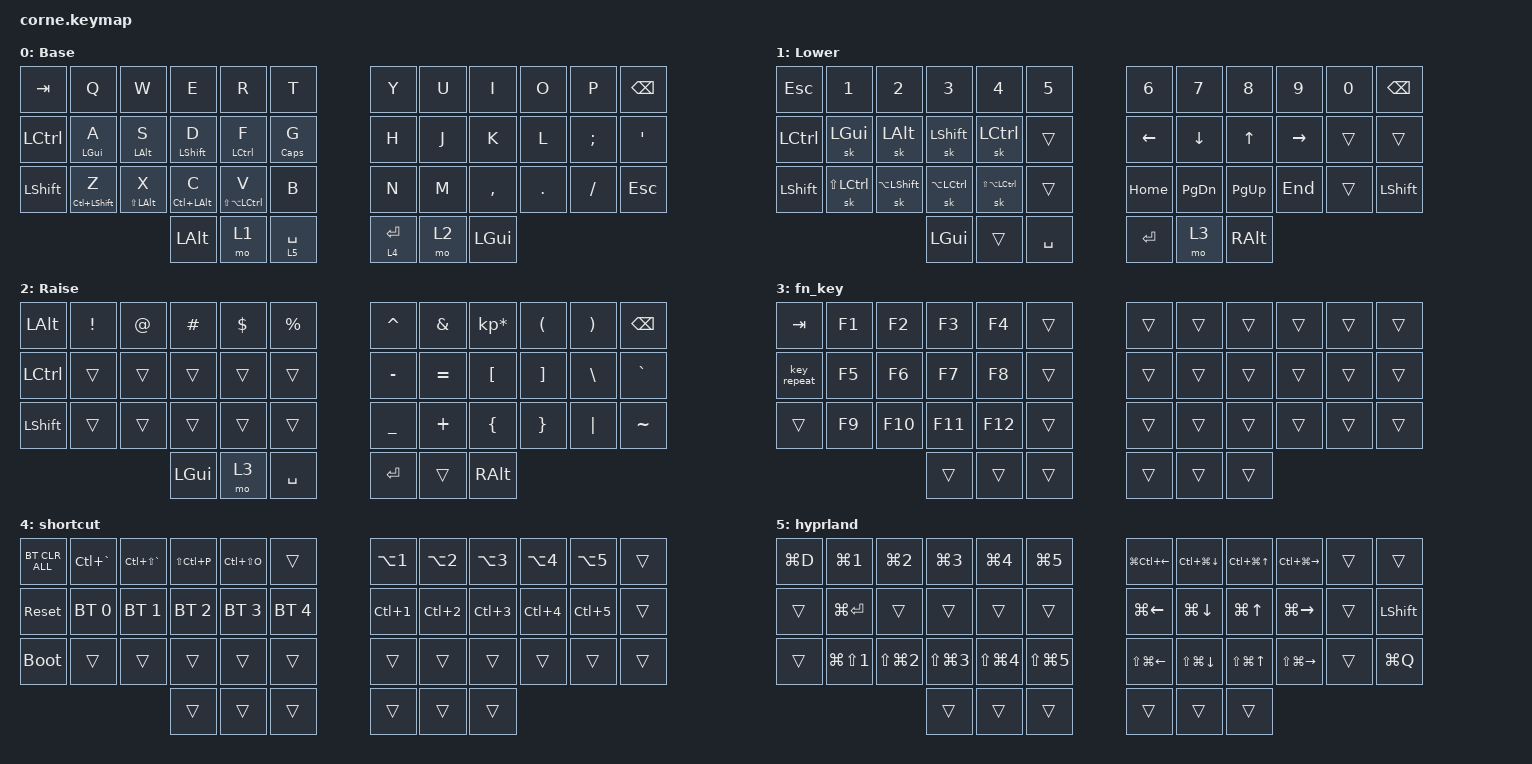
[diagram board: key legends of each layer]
/*
 * Copyright (c) 2020 The ZMK Contributors
 *
 * SPDX-License-Identifier: MIT
 */

#include <behaviors.dtsi>
#include <dt-bindings/zmk/bt.h>
#include <dt-bindings/zmk/keys.h>

&mt {
    tapping-term-ms = <200>;
    quick-tap-ms = <150>;
    require-prior-idle-ms = <10>;
    flavor = "tap-preferred";
};

/ {
    keymap {
        compatible = "zmk,keymap";

        default_layer {
            // -----------------------------------------------------------------------------------------
            // |  TAB |  Q  |  W  |  E  |  R  |  T  |   |  Y  |  U   |  I  |  O  |  P  | BKSP |
            // | CTRL |  A  |  S  |  D  |  F  |  G  |   |  H  |  J   |  K  |  L  |  ;  |  '   |
            // | SHFT |  Z  |  X  |  C  |  V  |  B  |   |  N  |  M   |  ,  |  .  |  /  | ESC  |
            //                    | GUI | LWR | SPC |   | ENT | RSE  | ALT |

            display-name = "Base";
            bindings = <
&kp TAB           &kp Q                 &kp W               &kp E               &kp R                &kp T             &kp Y        &kp U  &kp I         &kp O    &kp P          &kp BSPC
&kp LEFT_CONTROL  &mt LEFT_GUI A        &mt LEFT_ALT S      &mt LEFT_SHIFT D    &mt LEFT_CONTROL F   &mt CAPSLOCK G    &kp H        &kp J  &kp K         &kp L    &kp SEMICOLON  &kp SQT
&kp LSHFT         &mt LC(LEFT_SHIFT) Z  &mt LS(LEFT_ALT) X  &mt LC(LEFT_ALT) C  &mt LS(LA(LCTRL)) V  &kp B             &kp N        &kp M  &kp COMMA     &kp DOT  &kp FSLH       &kp ESC
                                                            &kp LEFT_ALT        &mo 1                &lt 5 SPACE       &lt 4 ENTER  &mo 2  &kp LEFT_GUI
            >;
        };

        lower_layer {
            // -----------------------------------------------------------------------------------------
            // |  TAB |  1  |  2  |  3  |  4  |  5  |   |  6  |  7  |  8  |  9  |  0  | BKSP |
            // | BTCLR| BT1 | BT2 | BT3 | BT4 | BT5 |   | LFT | DWN |  UP | RGT |     |      |
            // | SHFT |     |     |     |     |     |   |     |     |     |     |     |      |
            //                    | GUI |     | SPC |   | ENT |     | ALT |

            display-name = "Lower";
            bindings = <
&kp ESC           &kp N1                &kp N2              &kp N3                &kp N4                    &kp N5       &kp N6    &kp N7         &kp N8       &kp N9     &kp N0  &kp BSPC
&kp LEFT_CONTROL  &sk LEFT_GUI          &sk LEFT_ALT        &sk LEFT_SHIFT        &sk LEFT_CONTROL          &trans       &kp LEFT  &kp DOWN       &kp UP       &kp RIGHT  &trans  &trans
&kp LSHFT         &sk LS(LEFT_CONTROL)  &sk LA(LEFT_SHIFT)  &sk LA(LEFT_CONTROL)  &sk LS(LA(LEFT_CONTROL))  &trans       &kp HOME  &kp PAGE_DOWN  &kp PAGE_UP  &kp END    &trans  &kp LEFT_SHIFT
                                                            &kp LGUI              &trans                    &kp SPACE    &kp RET   &mo 3          &kp RALT
            >;
        };

        raise_layer {
            // -----------------------------------------------------------------------------------------
            // |  TAB |  !  |  @  |  #  |  $  |  %  |   |  ^  |  &  |  *  |  (  |  )  | BKSP |
            // | CTRL |     |     |     |     |     |   |  -  |  =  |  [  |  ]  |  \  |  `   |
            // | SHFT |     |     |     |     |     |   |  _  |  +  |  {  |  }  | "|" |  ~   |
            //                    | GUI |     | SPC |   | ENT |     | ALT |

            display-name = "Raise";
            bindings = <
&kp LEFT_ALT  &kp EXCL  &kp AT  &kp HASH  &kp DLLR  &kp PRCNT    &kp CARET  &kp AMPS   &kp KP_MULTIPLY  &kp LPAR  &kp RPAR  &kp BSPC
&kp LCTRL     &trans    &trans  &trans    &trans    &trans       &kp MINUS  &kp EQUAL  &kp LBKT         &kp RBKT  &kp BSLH  &kp GRAVE
&kp LSHFT     &trans    &trans  &trans    &trans    &trans       &kp UNDER  &kp PLUS   &kp LBRC         &kp RBRC  &kp PIPE  &kp TILDE
                                &kp LGUI  &mo 3     &kp SPACE    &kp RET    &trans     &kp RALT
            >;
        };

        fn_key {
            bindings = <
&kp TAB      &kp F1  &kp F2   &kp F3   &kp F4   &trans    &trans  &trans  &trans  &trans  &trans  &trans
&key_repeat  &kp F5  &kp F6   &kp F7   &kp F8   &trans    &trans  &trans  &trans  &trans  &trans  &trans
&trans       &kp F9  &kp F10  &kp F11  &kp F12  &trans    &trans  &trans  &trans  &trans  &trans  &trans
                              &trans   &trans   &trans    &trans  &trans  &trans
            >;
        };

        shortcut {
            bindings = <
&bt BT_CLR_ALL  &kp LC(GRAVE)  &kp LC(LS(GRAVE))  &kp LS(LC(P))  &kp LC(LS(O))  &trans          &kp LA(N1)  &kp LA(N2)  &kp LA(N3)  &kp LA(N4)  &kp LA(N5)  &trans
&sys_reset      &bt BT_SEL 0   &bt BT_SEL 1       &bt BT_SEL 2   &bt BT_SEL 3   &bt BT_SEL 4    &kp LC(N1)  &kp LC(N2)  &kp LC(N3)  &kp LC(N4)  &kp LC(N5)  &trans
&bootloader     &trans         &trans             &trans         &trans         &trans          &trans      &trans      &trans      &trans      &trans      &trans
                                                  &trans         &trans         &trans          &trans      &trans      &trans
            >;
        };

        hyprland {
            bindings = <
&kp LG(D)  &kp LG(NUMBER_1)      &kp LG(NUMBER_2)      &kp LG(NUMBER_3)      &kp LG(NUMBER_4)      &kp LG(NUMBER_5)    &kp LG(LC(LEFT_ARROW))  &kp LC(LG(DOWN_ARROW))  &kp LC(LG(UP_ARROW))  &kp LC(LG(RIGHT))  &trans  &trans
&trans     &kp LG(ENTER)         &trans                &trans                &trans                &trans              &kp LG(LEFT_ARROW)      &kp LG(DOWN)            &kp LG(UP_ARROW)      &kp LG(RIGHT)      &trans  &kp LEFT_SHIFT
&trans     &kp LG(LS(NUMBER_1))  &kp LS(LG(NUMBER_2))  &kp LS(LG(NUMBER_3))  &kp LS(LG(NUMBER_4))  &kp LS(LG(N5))      &kp LS(LG(LEFT_ARROW))  &kp LS(LG(DOWN_ARROW))  &kp LS(LG(UP_ARROW))  &kp LS(LG(RIGHT))  &trans  &kp LG(Q)
                                                       &trans                &trans                &trans              &trans                  &trans                  &trans
            >;
        };
    };
};
